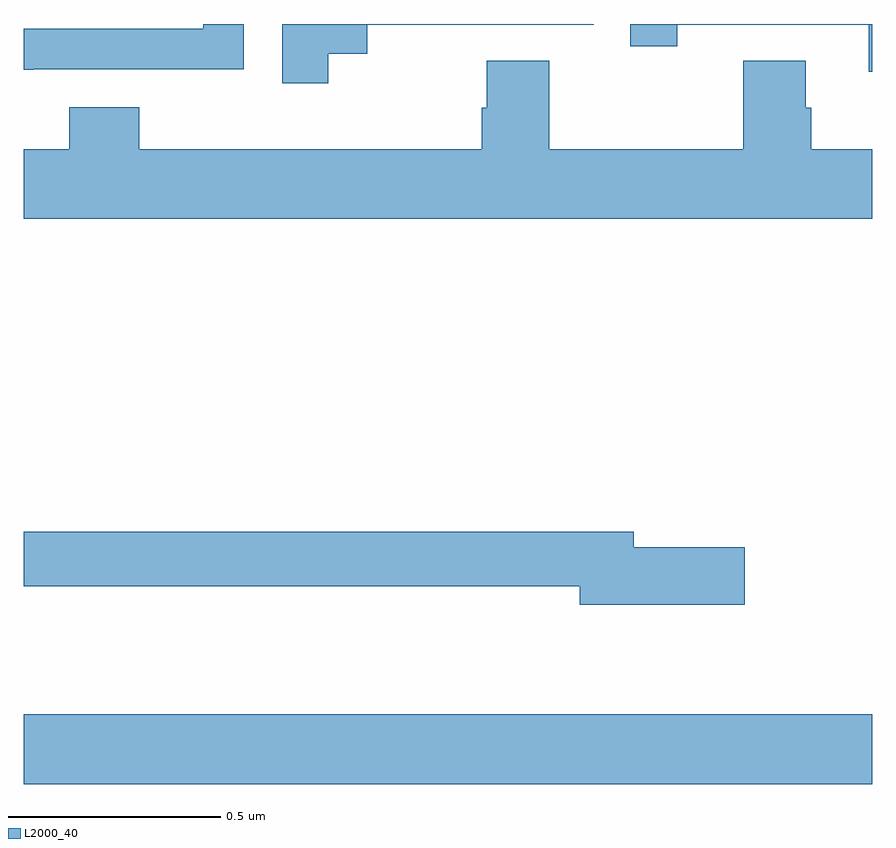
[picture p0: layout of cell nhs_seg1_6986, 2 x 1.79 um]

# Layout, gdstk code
import gdstk
lib = gdstk.Library(unit=1e-6, precision=1e-09)
def R(c, l, rs):  # rectangles x0, y0, x1, y1
    for r in rs: c.add(gdstk.rectangle(r[:2], r[2:], *l))
def P(c, l, *ps):  # polygons
    for p in ps: c.add(gdstk.Polygon(p, *l))
L2000_40 = (2000, 40)

nhs_seg1_6986 = lib.new_cell('nhs_seg1_6986')
R(nhs_seg1_6986, L2000_40, [(198,542.408,200,542.572)])
P(nhs_seg1_6986, L2000_40, [(200,544.199),(199.429,544.199),(199.429,544.146),(199.54,544.146),(199.54,544.197),(199.991,544.197),(199.991,544.086),(200,544.086)],
  [(198.023,544.092),(198.519,544.092),(198.519,544.199),(198.423,544.199),(198.423,544.188),(198,544.188),(198,544.091),(198.023,544.091)],
  [(198.718,544.129),(198.81,544.129),(198.81,544.197),(199.344,544.197),(199.344,544.199),(198.609,544.199),(198.609,544.059),(198.718,544.059)],
  [(200,543.904),(199.856,543.904),(199.856,544.002),(199.843,544.002),(199.843,544.112),(199.696,544.112),(199.696,543.904),(199.239,543.904),(199.239,544.112),(199.091,544.112),(199.091,544.002),(199.079,544.002),(199.079,543.904),(198.272,543.904),(198.272,544.003),(198.107,544.003),(198.107,543.904),(198,543.904),(198,543.74),(200,543.74)],
  [(199.699,542.966),(199.438,542.966),(199.438,543.002),(198,543.002),(198,542.874),(199.31,542.874),(199.31,542.831),(199.699,542.831)])

lib.write_gds('nhs_seg1_6986.gds')
